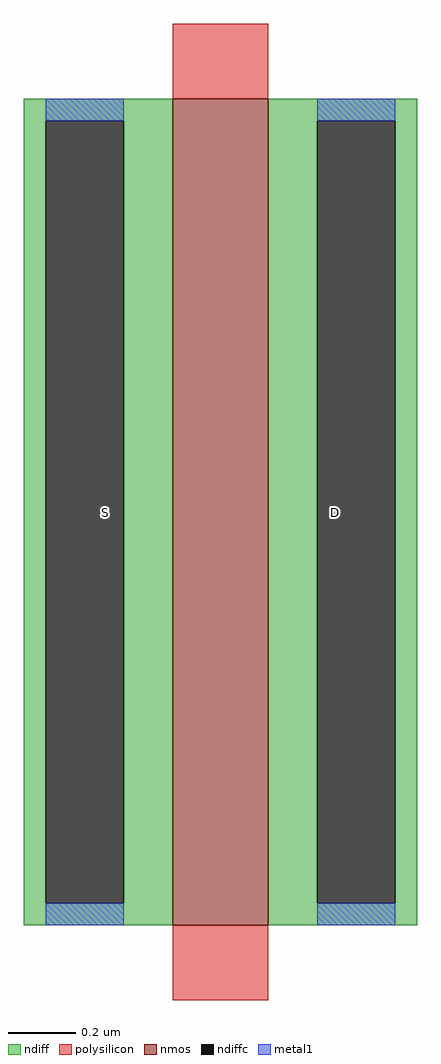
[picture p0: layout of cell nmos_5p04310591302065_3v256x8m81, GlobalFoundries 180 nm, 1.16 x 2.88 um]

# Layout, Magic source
magic
tech gf180mcuD
magscale 1 10
<< nmos >>
rect 0 0 56 487
<< ndiff >>
rect -88 474 0 487
rect -88 13 -75 474
rect -29 13 0 474
rect -88 0 0 13
rect 56 474 144 487
rect 56 13 85 474
rect 131 13 144 474
rect 56 0 144 13
<< ndiffc >>
rect -75 13 -29 474
rect 85 13 131 474
<< polysilicon >>
rect 0 487 56 531
rect 0 -44 56 0
<< metal1 >>
rect -75 474 -29 487
rect -75 0 -29 13
rect 85 474 131 487
rect 85 0 131 13
<< labels >>
flabel ndiffc -40 243 -40 243 0 FreeSans 93 0 0 0 S
flabel ndiffc 96 243 96 243 0 FreeSans 93 0 0 0 D
<< end >>
